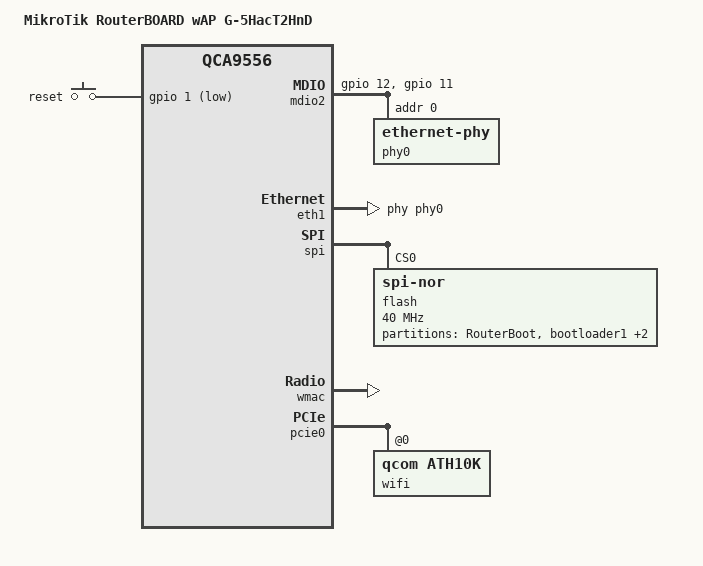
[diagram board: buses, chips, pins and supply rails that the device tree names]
// SPDX-License-Identifier: GPL-2.0-or-later OR MIT

#include "qca955x.dtsi"

#include <dt-bindings/gpio/gpio.h>
#include <dt-bindings/input/input.h>

/ {
	compatible = "mikrotik,routerboard-wap-g-5hact2hnd", "qca,qca9556";
	model = "MikroTik RouterBOARD wAP G-5HacT2HnD";

	aliases {
		mdio-gpio1 = &mdio2;
		serial0 = &uart;
	};

	keys {
		compatible = "gpio-keys";

		reset {
			label = "reset";
			linux,code = <KEY_RESTART>;
			gpios = <&gpio 1 GPIO_ACTIVE_LOW>;
			debounce-interval = <60>;
		};
	};

	mdio2: mdio {
		compatible = "virtual,mdio-gpio";

		gpios = <&gpio 12 GPIO_ACTIVE_HIGH>, /* MDC */
			<&gpio 11 GPIO_ACTIVE_HIGH>; /* MDIO */
		#address-cells = <1>;
		#size-cells = <0>;

		phy0: ethernet-phy@0 {
			reg = <0>;
			device_type = "ethernet-phy";

			phy-mode = "sgmii";

			at803x-override-sgmii-link-check;
		};
	};
};

&eth1 {
	status = "okay";

	pll-data = <0x03000101 0x80000101 0x80001313>;
	phy-handle = <&phy0>;

	qca955x-sgmii-fixup;

	gmac-config {
		device = <&gmac>;
	};
};

&spi {
	status = "okay";

	flash@0 {
		compatible = "jedec,spi-nor";
		reg = <0>;
		spi-max-frequency = <40000000>;

		partitions {
			compatible = "fixed-partitions";
			#address-cells = <1>;
			#size-cells = <1>;

			partition@0 {
				label = "RouterBoot";
				reg = <0x0 0x20000>;
				compatible = "mikrotik,routerboot-partitions";
				#address-cells = <1>;
				#size-cells = <1>;

				partition@0 {
					label = "bootloader1";
					reg = <0x0 0x0>;
					read-only;
				};

				hard_config: hard_config {
					read-only;
				};

				bios {
					size = <0x1000>;
					read-only;
				};

				partition@10000 {
					label = "bootloader2";
					reg = <0x10000 0x0>;
					read-only;
				};

				soft_config {
					label = "soft_config";
				};
			};

			partition@20000 {
				compatible = "mikrotik,minor";
				label = "firmware";
				reg = <0x020000 0xfe0000>;
			};
		};
	};
};

&wmac {
	status = "okay";

	qca,no-eeprom;
};

&pcie0 {
	status = "okay";

	wifi@0,0 {
		compatible = "qcom,ath10k";
		reg = <0 0 0 0 0>;
	};
};
